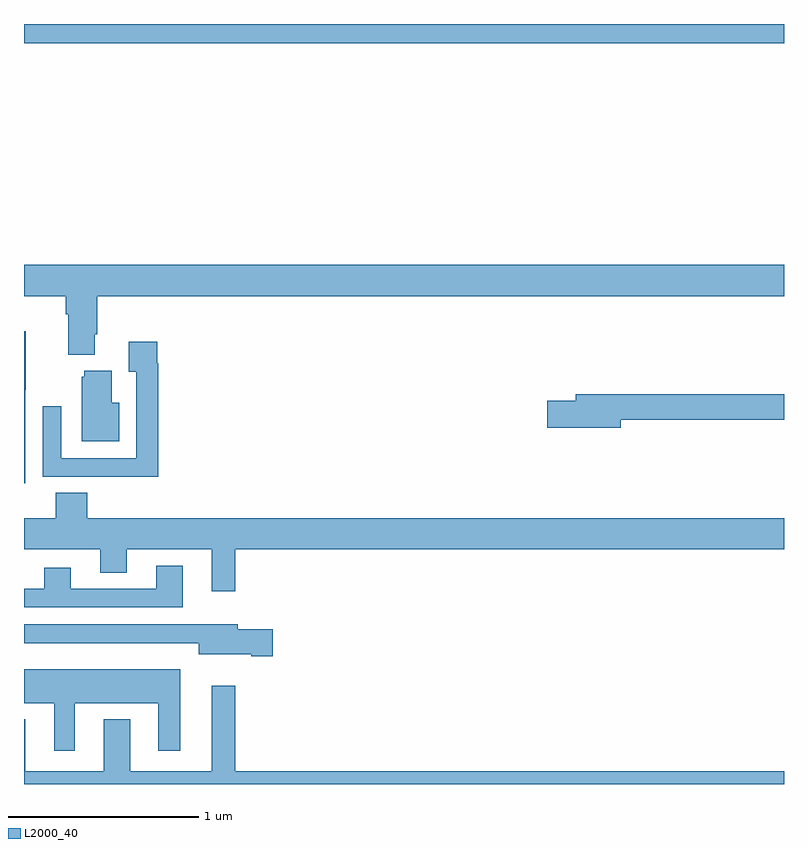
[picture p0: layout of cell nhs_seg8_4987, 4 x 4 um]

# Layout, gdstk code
import gdstk
lib = gdstk.Library(unit=1e-6, precision=1e-09)
def R(c, l, rs):  # rectangles x0, y0, x1, y1
    for r in rs: c.add(gdstk.rectangle(r[:2], r[2:], *l))
def P(c, l, *ps):  # polygons
    for p in ps: c.add(gdstk.Polygon(p, *l))
L2000_40 = (2000, 40)

nhs_seg8_4987 = lib.new_cell('nhs_seg8_4987')
R(nhs_seg8_4987, L2000_40, [(411,1149.8,415,1149.9)])
P(nhs_seg8_4987, L2000_40, [(411.373,1148.266),(411.386,1148.266),(411.386,1148.468),(415,1148.468),(415,1148.632),(411,1148.632),(411,1148.468),(411.221,1148.468),(411.221,1148.372),(411.233,1148.372),(411.233,1148.159),(411.373,1148.159)],
  [(411.006,1147.975),(411.009,1147.975),(411.009,1148.282),(411,1148.282),(411,1147.482),(411.006,1147.482)],
  [(411.707,1148.114),(411.7,1148.114),(411.7,1148.227),(411.551,1148.227),(411.551,1148.071),(411.591,1148.071),(411.591,1147.614),(411.195,1147.614),(411.195,1147.888),(411.099,1147.888),(411.099,1147.518),(411.415,1147.518),(411.415,1147.517),(411.707,1147.517)],
  [(411.502,1147.906),(411.463,1147.906),(411.463,1148.074),(411.317,1148.074),(411.317,1148.043),(411.305,1148.043),(411.305,1147.703),(411.502,1147.703)],
  [(414.142,1147.816),(415,1147.816),(415,1147.952),(413.903,1147.952),(413.903,1147.916),(413.754,1147.916),(413.754,1147.774),(414.142,1147.774)],
  [(412.111,1147.136),(415,1147.136),(415,1147.3),(411.332,1147.3),(411.332,1147.433),(411.167,1147.433),(411.167,1147.3),(411,1147.3),(411,1147.136),(411.401,1147.136),(411.401,1147.012),(411.541,1147.012),(411.541,1147.136),(411.989,1147.136),(411.989,1146.915),(412.111,1146.915)],
  [(411.835,1147.048),(411.695,1147.048),(411.695,1146.927),(411.247,1146.927),(411.247,1147.039),(411.107,1147.039),(411.107,1146.927),(411,1146.927),(411,1146.831),(411.835,1146.831)],
  [(412.309,1146.714),(412.126,1146.714),(412.126,1146.742),(411,1146.742),(411,1146.641),(411.92,1146.641),(411.92,1146.584),(412.196,1146.584),(412.196,1146.572),(412.309,1146.572)],
  [(411.268,1146.326),(411.707,1146.326),(411.707,1146.075),(411.823,1146.075),(411.823,1146.505),(411,1146.505),(411,1146.326),(411.158,1146.326),(411.158,1146.075),(411.268,1146.075)],
  [(415,1145.968),(412.111,1145.968),(412.111,1146.418),(411.989,1146.418),(411.989,1145.968),(411.559,1145.968),(411.559,1146.241),(411.419,1146.241),(411.419,1145.968),(411.007,1145.968),(411.007,1146.241),(411,1146.241),(411,1145.9),(415,1145.9)])

lib.write_gds('nhs_seg8_4987.gds')
